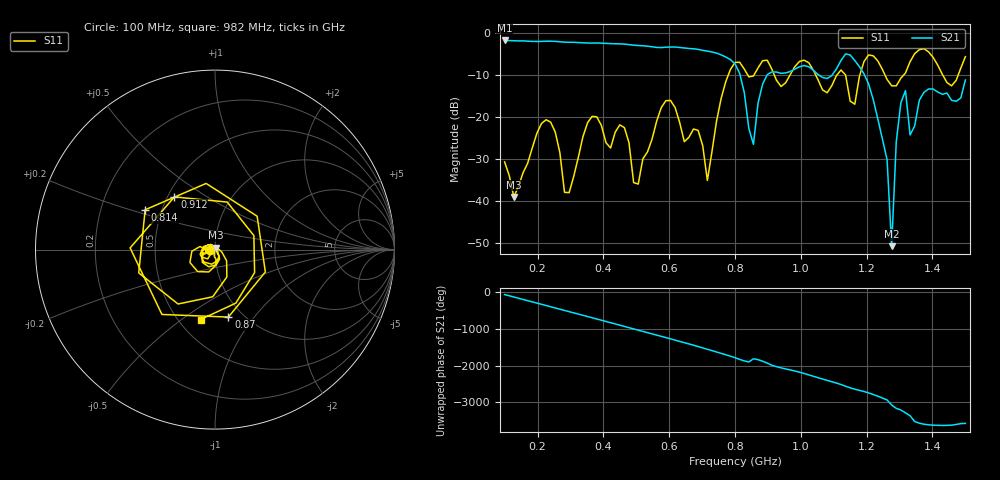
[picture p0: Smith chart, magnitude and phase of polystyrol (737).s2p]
! NanoVNA-App
! Date: 2025-09-25 15:35:37
! Start: 100MHz Stop: 1,5GHz Points: 101
! S-Parameter data: F S11 S21 S12 S22
# Hz S RI R 50
!  Frequency  S11_Real  S11_Imag  S21_Real  S21_Imag  S12_Real  S12_Imag  S22_Real  S22_Imag
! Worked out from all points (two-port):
!   101 points, 100 MHz to 1.5 GHz, reference 50 ohm
!   highest |S21| = -1.80 dB at 100 MHz (marker M1); lowest = -50.8 dB at 1.276 GHz (marker M2)
!   |S21| within 3 dB of the highest: start of sweep to 743 MHz
!   lowest |S11| = -39.0 dB at 128 MHz (marker M3), VSWR 1.02, Z = 50.3 + j1.07 ohm
!   |S11| at or under -10 dB: start of sweep to 779.8 MHz; 1.045 GHz to 1.11 GHz (64.98 MHz wide, 6.03 % of centre); 1.256 GHz to 1.313 GHz (57.11 MHz wide, 4.45 % of centre) (the widest 3 of 7)
!   S12 and S22 are empty: the file has one direction only
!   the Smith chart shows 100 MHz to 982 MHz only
!   S11 on the Smith chart (normalised r, x): 100 MHz: 0.94, -0.01; 814 MHz: 0.40, +0.22; 870 MHz: 0.86, -0.75; 912 MHz: 0.54, +0.37; 982 MHz: 0.64, -0.59
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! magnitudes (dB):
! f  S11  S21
! 100 MHz  -30.7  -1.8
! 128 MHz  -39.0  -1.9
! 212 MHz  -21.6  -2.0
! 282 MHz  -38.0  -2.2
! 338 MHz  -24.7  -2.4
! 506 MHz  -36.0  -3.0
! 576 MHz  -17.8  -3.5
! 716 MHz  -35.1  -4.3
! 800 MHz  -7.0  -7.4
! 814 MHz  -7.0  -9.6
! 856 MHz  -10.3  -26.5
! 870 MHz  -8.3  -16.7
! 912 MHz  -8.6  -9.3
! 982 MHz  -8.0  -8.6
! 1.038 GHz  -8.9  -8.9
! 1.164 GHz  -17.0  -6.6
! 1.206 GHz  -5.2  -12.2
! 1.262 GHz  -11.1  -30.1
! 1.276 GHz  -12.6  -50.8
! 1.29 GHz  -12.6  -25.9
! 1.318 GHz  -9.5  -13.8
! 1.5 GHz  -5.7  -11.2
